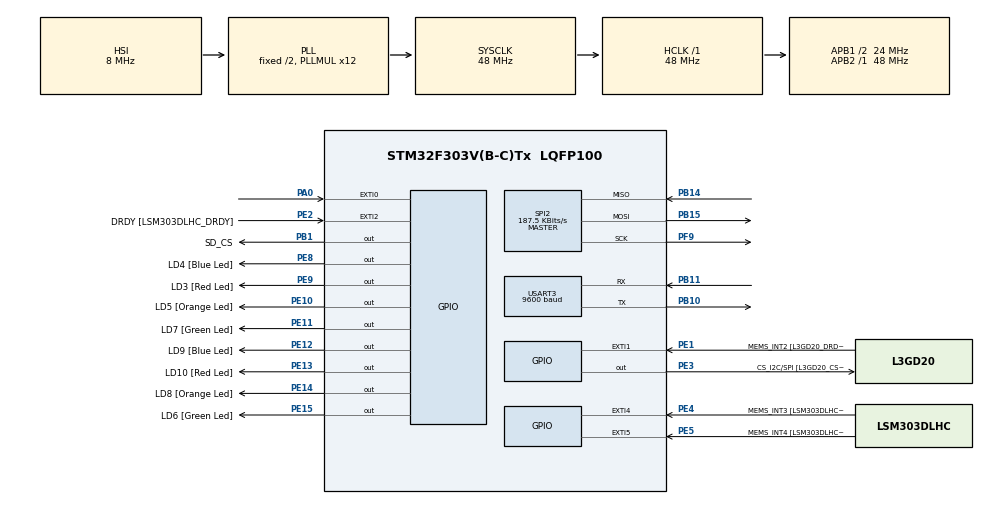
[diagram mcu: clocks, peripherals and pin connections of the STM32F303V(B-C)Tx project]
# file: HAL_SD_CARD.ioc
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Mcu.Family=STM32F3
Mcu.Name=STM32F303V(B-C)Tx
Mcu.Package=LQFP100
NVIC.EXTI0_IRQn=true\:0\:0\:false\:false\:true\:true\:true\:true
NVIC.PriorityGroup=NVIC_PRIORITYGROUP_0
PA0.GPIO_PuPd=GPIO_PULLDOWN
PA0.Signal=GPXTI0
PA11.GPIO_Label=DM
PA11.Signal=USB_DM
PA12.GPIO_Label=DP
PA12.Signal=USB_DP
PA13.GPIO_Label=SWDIO
PA13.Signal=SYS_JTMS-SWDIO
PA14.GPIO_Label=SWCLK
PA14.Signal=SYS_JTCK-SWCLK
PA5.GPIO_Label=SPI1_SCK [L3GD20_SCL/SPC]
PA5.GPIO_Mode=GPIO_MODE_AF_PP
PA5.GPIO_PuPd=GPIO_NOPULL
PA5.GPIO_Speed=GPIO_SPEED_FREQ_LOW
PA5.Signal=SPI1_SCK
PA6.GPIO_Label=SPI1_MISO [L3GD20_SA0/SDO]
PA6.GPIO_Mode=GPIO_MODE_AF_PP
PA6.GPIO_PuPd=GPIO_NOPULL
PA6.GPIO_Speed=GPIO_SPEED_FREQ_LOW
PA6.Signal=SPI1_MISO
PA7.GPIO_Label=SPI1_MISO [L3GD20_SDA/SDI/SDO]
PA7.GPIO_Mode=GPIO_MODE_AF_PP
PA7.GPIO_PuPd=GPIO_NOPULL
PA7.GPIO_Speed=GPIO_SPEED_FREQ_LOW
PA7.Signal=SPI1_MOSI
PB1.GPIO_Label=SD_CS
PB1.PinState=GPIO_PIN_RESET
PB1.Signal=GPIO_Output
PB10.Mode=Asynchronous
PB10.Signal=USART3_TX
PB11.Mode=Asynchronous
PB11.Signal=USART3_RX
PB14.Mode=Full_Duplex_Master
PB14.Signal=SPI2_MISO
PB15.Mode=Full_Duplex_Master
PB15.Signal=SPI2_MOSI
PB3.GPIO_Label=SWO
PB3.Signal=SYS_JTDO-TRACESWO
PB6.GPIO_FM6=__NULL
PB6.GPIO_Label=I2C1_SCL [LSM303DLHC_SCL]
PB6.GPIO_Mode=GPIO_MODE_AF_OD
PB6.GPIO_PuPd=GPIO_NOPULL
PB6.GPIO_Speed=GPIO_SPEED_FREQ_LOW
PB6.Signal=I2C1_SCL
PB7.GPIO_FM7=__NULL
PB7.GPIO_Label=I2C1_SDA [LSM303DLHC_SDA]
PB7.GPIO_Mode=GPIO_MODE_AF_OD
PB7.GPIO_PuPd=GPIO_NOPULL
PB7.GPIO_Speed=GPIO_SPEED_FREQ_LOW
PB7.Signal=I2C1_SDA
PC14-OSC32_IN.GPIO_Label=OSC32_IN
PC14-OSC32_IN.Signal=RCC_OSC32_IN
PC15-OSC32_OUT.GPIO_Label=OSC32_OUT
PC15-OSC32_OUT.Signal=RCC_OSC32_OUT
PE1.GPIO_Label=MEMS_INT2 [L3GD20_DRDY/INT2]
PE1.GPIO_ModeDefaultEXTI=GPIO_MODE_EVT_RISING
PE1.GPIO_PuPd=GPIO_NOPULL
PE1.Signal=GPXTI1
PE10.GPIO_Label=LD5 [Orange Led]
PE10.GPIO_ModeDefaultOutputPP=GPIO_MODE_OUTPUT_PP
PE10.GPIO_PuPd=GPIO_NOPULL
PE10.GPIO_Speed=GPIO_SPEED_FREQ_LOW
PE10.Signal=GPIO_Output
PE11.GPIO_Label=LD7 [Green Led]
PE11.GPIO_ModeDefaultOutputPP=GPIO_MODE_OUTPUT_PP
PE11.GPIO_PuPd=GPIO_NOPULL
PE11.GPIO_Speed=GPIO_SPEED_FREQ_LOW
PE11.Signal=GPIO_Output
PE12.GPIO_Label=LD9 [Blue Led]
PE12.GPIO_ModeDefaultOutputPP=GPIO_MODE_OUTPUT_PP
PE12.GPIO_PuPd=GPIO_NOPULL
PE12.GPIO_Speed=GPIO_SPEED_FREQ_LOW
PE12.Signal=GPIO_Output
PE13.GPIO_Label=LD10 [Red Led]
PE13.GPIO_ModeDefaultOutputPP=GPIO_MODE_OUTPUT_PP
PE13.GPIO_PuPd=GPIO_NOPULL
PE13.GPIO_Speed=GPIO_SPEED_FREQ_LOW
PE13.Signal=GPIO_Output
PE14.GPIO_Label=LD8 [Orange Led]
PE14.GPIO_ModeDefaultOutputPP=GPIO_MODE_OUTPUT_PP
PE14.GPIO_PuPd=GPIO_NOPULL
PE14.GPIO_Speed=GPIO_SPEED_FREQ_LOW
PE14.Signal=GPIO_Output
PE15.GPIO_Label=LD6 [Green Led]
PE15.GPIO_ModeDefaultOutputPP=GPIO_MODE_OUTPUT_PP
PE15.GPIO_PuPd=GPIO_NOPULL
PE15.GPIO_Speed=GPIO_SPEED_FREQ_LOW
PE15.Signal=GPIO_Output
PE2.GPIO_Label=DRDY [LSM303DLHC_DRDY]
PE2.GPIO_ModeDefaultEXTI=GPIO_MODE_EVT_RISING
PE2.GPIO_PuPd=GPIO_NOPULL
PE2.Signal=GPXTI2
PE3.GPIO_Label=CS_I2C/SPI [L3GD20_CS_I2C/SPI]
PE3.GPIO_ModeDefaultOutputPP=GPIO_MODE_OUTPUT_PP
PE3.GPIO_PuPd=GPIO_NOPULL
PE3.GPIO_Speed=GPIO_SPEED_FREQ_LOW
PE3.Signal=GPIO_Output
PE4.GPIO_Label=MEMS_INT3 [LSM303DLHC_INT1]
PE4.GPIO_ModeDefaultEXTI=GPIO_MODE_EVT_RISING
PE4.GPIO_PuPd=GPIO_NOPULL
PE4.Signal=GPXTI4
PE5.GPIO_Label=MEMS_INT4 [LSM303DLHC_INT2]
PE5.GPIO_ModeDefaultEXTI=GPIO_MODE_EVT_RISING
PE5.GPIO_PuPd=GPIO_NOPULL
PE5.Signal=GPXTI5
PE8.GPIO_Label=LD4 [Blue Led]
PE8.GPIO_ModeDefaultOutputPP=GPIO_MODE_OUTPUT_PP
PE8.GPIO_PuPd=GPIO_NOPULL
PE8.GPIO_Speed=GPIO_SPEED_FREQ_LOW
PE8.Signal=GPIO_Output
PE9.GPIO_Label=LD3 [Red Led]
PE9.GPIO_ModeDefaultOutputPP=GPIO_MODE_OUTPUT_PP
PE9.GPIO_PuPd=GPIO_NOPULL
PE9.GPIO_Speed=GPIO_SPEED_FREQ_LOW
PE9.Signal=GPIO_Output
PF0-OSC_IN.GPIO_Label=OSC_IN
PF0-OSC_IN.Signal=RCC_OSC_IN
PF1-OSC_OUT.GPIO_Label=OSC_OUT
PF1-OSC_OUT.Signal=RCC_OSC_OUT
PF9.Mode=Full_Duplex_Master
PF9.Signal=SPI2_SCK
ProjectManager.HeapSize=0x200
ProjectManager.StackSize=0x400
ProjectManager.TargetToolchain=STM32CubeIDE
RCC.AHBFreq_Value=48000000
RCC.APB1CLKDivider=RCC_HCLK_DIV2
RCC.APB1Freq_Value=24000000
RCC.APB1TimFreq_Value=48000000
RCC.APB2Freq_Value=48000000
RCC.APB2TimFreq_Value=48000000
RCC.CortexFreq_Value=48000000
RCC.HCLKFreq_Value=48000000
RCC.HSE_VALUE=8000000
RCC.HSI_VALUE=8000000
RCC.LSE_VALUE=32768
RCC.PLLMUL=RCC_PLL_MUL12
RCC.SYSCLKFreq_VALUE=48000000
RCC.SYSCLKSourceVirtual=RCC_SYSCLKSOURCE_PLLCLK
RCC.USBFreq_Value=48000000
SPI2.BaudRatePrescaler=SPI_BAUDRATEPRESCALER_128
SPI2.CalculateBaudRate=187.5 KBits/s
SPI2.DataSize=SPI_DATASIZE_8BIT
SPI2.Direction=SPI_DIRECTION_2LINES
SPI2.Mode=SPI_MODE_MASTER
SPI2.VirtualType=VM_MASTER
USART3.BaudRate=9600
USART3.VirtualMode-Asynchronous=VM_ASYNC
VP_FATFS_VS_Generic.Mode=User_defined
board=STM32F3DISCOVERY

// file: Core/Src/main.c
/* USER CODE BEGIN Header */
/**
  ******************************************************************************
  * @file           : main.c
  * @brief          : Main program body
  ******************************************************************************
  * @attention
  *
  * Copyright (c) 2023 STMicroelectronics.
  * All rights reserved.
  *
  * This software is licensed under terms that can be found in the LICENSE file
  * in the root directory of this software component.
  * If no LICENSE file comes with this software, it is provided AS-IS.
  *
  ******************************************************************************
  */
/* USER CODE END Header */
#include "main.h"
#include "fatfs.h"

/* USER CODE BEGIN Includes */
#include <stdio.h>
#include <string.h>
#include <stdarg.h> //for va_list var arg functions
/* USER CODE END Includes */

SPI_HandleTypeDef hspi2;

UART_HandleTypeDef huart3;

void SystemClock_Config(void);
static void MX_GPIO_Init(void);
static void MX_SPI2_Init(void);
static void MX_USART3_UART_Init(void);
/* USER CODE BEGIN PFP */
void myprintf(const char *fmt, ...);
/* USER CODE END PFP */

/* USER CODE BEGIN 0 */
void myprintf(const char *fmt, ...) {
  static char buffer[256];
  va_list args;
  va_start(args, fmt);
  vsnprintf(buffer, sizeof(buffer), fmt, args);
  va_end(args);

  int len = strlen(buffer);
  HAL_UART_Transmit(&huart3, (uint8_t*)buffer, len, -1);

}
/* USER CODE END 0 */

int main(void)
{

  /* MCU Configuration--------------------------------------------------------*/

  /* Reset of all peripherals, Initializes the Flash interface and the Systick. */
  HAL_Init();

  /* Configure the system clock */
  SystemClock_Config();

  /* Initialize all configured peripherals */
  MX_GPIO_Init();
  MX_SPI2_Init();
  MX_FATFS_Init();
  MX_USART3_UART_Init();
  /* USER CODE BEGIN 2 */
  myprintf("\r\n~ SD card demo ~\r\n\r\n");

  HAL_Delay(1000); //a short delay is important to let the SD card settle

  //some variables for FatFs
  FATFS FatFs; 	//Fatfs handle
  FIL fil; 		//File handle
  FRESULT fres; //Result after operations

  //Open the file system
  fres = f_mount(&FatFs, "", 1); //1=mount now
  if (fres != FR_OK) {
	myprintf("f_mount error (%i)\r\n", fres);
	while(1);
  }

  //Let's get some statistics from the SD card
  DWORD free_clusters, free_sectors, total_sectors;

  FATFS* getFreeFs;

  fres = f_getfree("", &free_clusters, &getFreeFs);
  if (fres != FR_OK) {
	myprintf("f_getfree error (%i)\r\n", fres);
	while(1);
  }

  //Formula comes from ChaN's documentation
  total_sectors = (getFreeFs->n_fatent - 2) * getFreeFs->csize;
  free_sectors = free_clusters * getFreeFs->csize;

  myprintf("SD card stats:\r\n%10lu KiB total drive space.\r\n%10lu KiB available.\r\n", total_sectors / 2, free_sectors / 2);

  //Now let's try to open file "test.txt"
  fres = f_open(&fil, "test.txt", FA_READ);
  if (fres != FR_OK) {
	myprintf("f_open error (%i)\r\n");
	while(1);
  }
  myprintf("I was able to open 'test.txt' for reading!\r\n");

  //Read 30 bytes from "test.txt" on the SD card
  BYTE readBuf[30];

  //We can either use f_read OR f_gets to get data out of files
  //f_gets is a wrapper on f_read that does some string formatting for us
  TCHAR* rres = f_gets((TCHAR*)readBuf, 30, &fil);
  if(rres != 0) {
	myprintf("Read string from 'test.txt' contents: %s\r\n", readBuf);
  } else {
	myprintf("f_gets error (%i)\r\n", fres);
  }

  //Be a tidy kiwi - don't forget to close your file!
  f_close(&fil);

  //Now let's try and write a file "write.txt"
  fres = f_open(&fil, "write.txt", FA_WRITE | FA_OPEN_ALWAYS | FA_CREATE_ALWAYS);

  if(fres == FR_OK) {
	myprintf("I was able to open 'write.txt' for writing\r\n");
  } else {
	myprintf("f_open error (%i)\r\n", fres);
  }

  //Be a tidy kiwi - don't forget to close your file!
  f_close(&fil);

  for(int i = 0; i < 5; i++)
  {
	  fres = f_open(&fil, "write.txt", FA_WRITE | FA_OPEN_ALWAYS );

	  if(fres == FR_OK) {
		myprintf("I was able to open 'write.txt' for writing\r\n");

		//APPEND
		f_lseek(&fil, fil.fsize);
	  } else {
		myprintf("f_open error (%i)\r\n", fres);
	  }

	  //Copy in a string
	  strncpy((char*)readBuf, "a new file is made!\n", 20);
	  UINT bytesWrote;
	  fres = f_write(&fil, readBuf, 20, &bytesWrote);
	  if(fres == FR_OK) {
		myprintf("Wrote %i bytes to 'write.txt'!\r\n", bytesWrote);
	  } else {
		myprintf("f_write error (%i)\r\n");
	  }

	  //Be a tidy kiwi - don't forget to close your file!
	  f_close(&fil);
  }
  //Unmount just for testing
  f_mount(NULL, "", 0);

  /* USER CODE END 2 */

  /* Infinite loop */
  /* USER CODE BEGIN WHILE */
  while (1)
  {

      //Blink the LED every second
	 // HAL_GPIO_TogglePin(LD2_GPIO_Port, LD2_Pin);
	 // HAL_Delay(1000);
  }
    /* USER CODE END WHILE */

}

void SystemClock_Config(void)
{
  RCC_OscInitTypeDef RCC_OscInitStruct = {0};
  RCC_ClkInitTypeDef RCC_ClkInitStruct = {0};
  RCC_PeriphCLKInitTypeDef PeriphClkInit = {0};

  /** Initializes the RCC Oscillators according to the specified parameters
  * in the RCC_OscInitTypeDef structure.
  */
  RCC_OscInitStruct.OscillatorType = RCC_OSCILLATORTYPE_HSI;
  RCC_OscInitStruct.HSIState = RCC_HSI_ON;
  RCC_OscInitStruct.HSICalibrationValue = RCC_HSICALIBRATION_DEFAULT;
  RCC_OscInitStruct.PLL.PLLState = RCC_PLL_ON;
  RCC_OscInitStruct.PLL.PLLSource = RCC_PLLSOURCE_HSI;
  RCC_OscInitStruct.PLL.PLLMUL = RCC_PLL_MUL12;
  if (HAL_RCC_OscConfig(&RCC_OscInitStruct) != HAL_OK)
  {
    Error_Handler();
  }

  /** Initializes the CPU, AHB and APB buses clocks
  */
  RCC_ClkInitStruct.ClockType = RCC_CLOCKTYPE_HCLK|RCC_CLOCKTYPE_SYSCLK
                              |RCC_CLOCKTYPE_PCLK1|RCC_CLOCKTYPE_PCLK2;
  RCC_ClkInitStruct.SYSCLKSource = RCC_SYSCLKSOURCE_PLLCLK;
  RCC_ClkInitStruct.AHBCLKDivider = RCC_SYSCLK_DIV1;
  RCC_ClkInitStruct.APB1CLKDivider = RCC_HCLK_DIV2;
  RCC_ClkInitStruct.APB2CLKDivider = RCC_HCLK_DIV1;

  if (HAL_RCC_ClockConfig(&RCC_ClkInitStruct, FLASH_LATENCY_1) != HAL_OK)
  {
    Error_Handler();
  }
  PeriphClkInit.PeriphClockSelection = RCC_PERIPHCLK_USART3;
  PeriphClkInit.Usart3ClockSelection = RCC_USART3CLKSOURCE_PCLK1;
  if (HAL_RCCEx_PeriphCLKConfig(&PeriphClkInit) != HAL_OK)
  {
    Error_Handler();
  }
}

static void MX_SPI2_Init(void)
{

  /* SPI2 parameter configuration*/
  hspi2.Instance = SPI2;
  hspi2.Init.Mode = SPI_MODE_MASTER;
  hspi2.Init.Direction = SPI_DIRECTION_2LINES;
  hspi2.Init.DataSize = SPI_DATASIZE_8BIT;
  hspi2.Init.CLKPolarity = SPI_POLARITY_LOW;
  hspi2.Init.CLKPhase = SPI_PHASE_1EDGE;
  hspi2.Init.NSS = SPI_NSS_SOFT;
  hspi2.Init.BaudRatePrescaler = SPI_BAUDRATEPRESCALER_128;
  hspi2.Init.FirstBit = SPI_FIRSTBIT_MSB;
  hspi2.Init.TIMode = SPI_TIMODE_DISABLE;
  hspi2.Init.CRCCalculation = SPI_CRCCALCULATION_DISABLE;
  hspi2.Init.CRCPolynomial = 7;
  hspi2.Init.CRCLength = SPI_CRC_LENGTH_DATASIZE;
  hspi2.Init.NSSPMode = SPI_NSS_PULSE_ENABLE;
  if (HAL_SPI_Init(&hspi2) != HAL_OK)
  {
    Error_Handler();
  }

}

static void MX_USART3_UART_Init(void)
{

  huart3.Instance = USART3;
  huart3.Init.BaudRate = 9600;
  huart3.Init.WordLength = UART_WORDLENGTH_8B;
  huart3.Init.StopBits = UART_STOPBITS_1;
  huart3.Init.Parity = UART_PARITY_NONE;
  huart3.Init.Mode = UART_MODE_TX_RX;
  huart3.Init.HwFlowCtl = UART_HWCONTROL_NONE;
  huart3.Init.OverSampling = UART_OVERSAMPLING_16;
  huart3.Init.OneBitSampling = UART_ONE_BIT_SAMPLE_DISABLE;
  huart3.AdvancedInit.AdvFeatureInit = UART_ADVFEATURE_NO_INIT;
  if (HAL_UART_Init(&huart3) != HAL_OK)
  {
    Error_Handler();
  }

}

static void MX_GPIO_Init(void)
{
  GPIO_InitTypeDef GPIO_InitStruct = {0};

  /* GPIO Ports Clock Enable */
  __HAL_RCC_GPIOE_CLK_ENABLE();
  __HAL_RCC_GPIOC_CLK_ENABLE();
  __HAL_RCC_GPIOF_CLK_ENABLE();
  __HAL_RCC_GPIOA_CLK_ENABLE();
  __HAL_RCC_GPIOB_CLK_ENABLE();

  /*Configure GPIO pin Output Level */
  HAL_GPIO_WritePin(GPIOE, CS_I2C_SPI_Pin|LD4_Pin|LD3_Pin|LD5_Pin
                          |LD7_Pin|LD9_Pin|LD10_Pin|LD8_Pin
                          |LD6_Pin, GPIO_PIN_RESET);

  /*Configure GPIO pin Output Level */
  HAL_GPIO_WritePin(SD_CS_GPIO_Port, SD_CS_Pin, GPIO_PIN_RESET);

  /*Configure GPIO pins : DRDY_Pin MEMS_INT3_Pin MEMS_INT4_Pin MEMS_INT2_Pin */
  GPIO_InitStruct.Pin = DRDY_Pin|MEMS_INT3_Pin|MEMS_INT4_Pin|MEMS_INT2_Pin;
  GPIO_InitStruct.Mode = GPIO_MODE_EVT_RISING;
  GPIO_InitStruct.Pull = GPIO_NOPULL;
  HAL_GPIO_Init(GPIOE, &GPIO_InitStruct);

  /*Configure GPIO pins : CS_I2C_SPI_Pin LD4_Pin LD3_Pin LD5_Pin
                           LD7_Pin LD9_Pin LD10_Pin LD8_Pin
                           LD6_Pin */
  GPIO_InitStruct.Pin = CS_I2C_SPI_Pin|LD4_Pin|LD3_Pin|LD5_Pin
                          |LD7_Pin|LD9_Pin|LD10_Pin|LD8_Pin
                          |LD6_Pin;
  GPIO_InitStruct.Mode = GPIO_MODE_OUTPUT_PP;
  GPIO_InitStruct.Pull = GPIO_NOPULL;
  GPIO_InitStruct.Speed = GPIO_SPEED_FREQ_LOW;
  HAL_GPIO_Init(GPIOE, &GPIO_InitStruct);

  /*Configure GPIO pin : PA0 */
  GPIO_InitStruct.Pin = GPIO_PIN_0;
  GPIO_InitStruct.Mode = GPIO_MODE_IT_RISING;
  GPIO_InitStruct.Pull = GPIO_PULLDOWN;
  HAL_GPIO_Init(GPIOA, &GPIO_InitStruct);

  /*Configure GPIO pins : SPI1_SCK_Pin SPI1_MISO_Pin SPI1_MISOA7_Pin */
  GPIO_InitStruct.Pin = SPI1_SCK_Pin|SPI1_MISO_Pin|SPI1_MISOA7_Pin;
  GPIO_InitStruct.Mode = GPIO_MODE_AF_PP;
  GPIO_InitStruct.Pull = GPIO_NOPULL;
  GPIO_InitStruct.Speed = GPIO_SPEED_FREQ_LOW;
  GPIO_InitStruct.Alternate = GPIO_AF5_SPI1;
  HAL_GPIO_Init(GPIOA, &GPIO_InitStruct);

  /*Configure GPIO pin : SD_CS_Pin */
  GPIO_InitStruct.Pin = SD_CS_Pin;
  GPIO_InitStruct.Mode = GPIO_MODE_OUTPUT_PP;
  GPIO_InitStruct.Pull = GPIO_NOPULL;
  GPIO_InitStruct.Speed = GPIO_SPEED_FREQ_LOW;
  HAL_GPIO_Init(SD_CS_GPIO_Port, &GPIO_InitStruct);

  /*Configure GPIO pins : DM_Pin DP_Pin */
  GPIO_InitStruct.Pin = DM_Pin|DP_Pin;
  GPIO_InitStruct.Mode = GPIO_MODE_AF_PP;
  GPIO_InitStruct.Pull = GPIO_NOPULL;
  GPIO_InitStruct.Speed = GPIO_SPEED_FREQ_HIGH;
  GPIO_InitStruct.Alternate = GPIO_AF14_USB;
  HAL_GPIO_Init(GPIOA, &GPIO_InitStruct);

  /*Configure GPIO pins : I2C1_SCL_Pin I2C1_SDA_Pin */
  GPIO_InitStruct.Pin = I2C1_SCL_Pin|I2C1_SDA_Pin;
  GPIO_InitStruct.Mode = GPIO_MODE_AF_OD;
  GPIO_InitStruct.Pull = GPIO_NOPULL;
  GPIO_InitStruct.Speed = GPIO_SPEED_FREQ_LOW;
  GPIO_InitStruct.Alternate = GPIO_AF4_I2C1;
  HAL_GPIO_Init(GPIOB, &GPIO_InitStruct);

  /* EXTI interrupt init*/
  HAL_NVIC_SetPriority(EXTI0_IRQn, 0, 0);
  HAL_NVIC_EnableIRQ(EXTI0_IRQn);

}

/* USER CODE BEGIN 4 */
void HAL_GPIO_EXTI_Callback(uint16_t GPIO_Pin)
{
	//We're done, so de-mount the drive
	f_mount(NULL, "", 0);
	myprintf("I closed the SD card connection\r\nSDcard can be removed...\r\n");
}
/* USER CODE END 4 */

void Error_Handler(void)
{
  __disable_irq();
  while (1)
  {
  }
}
